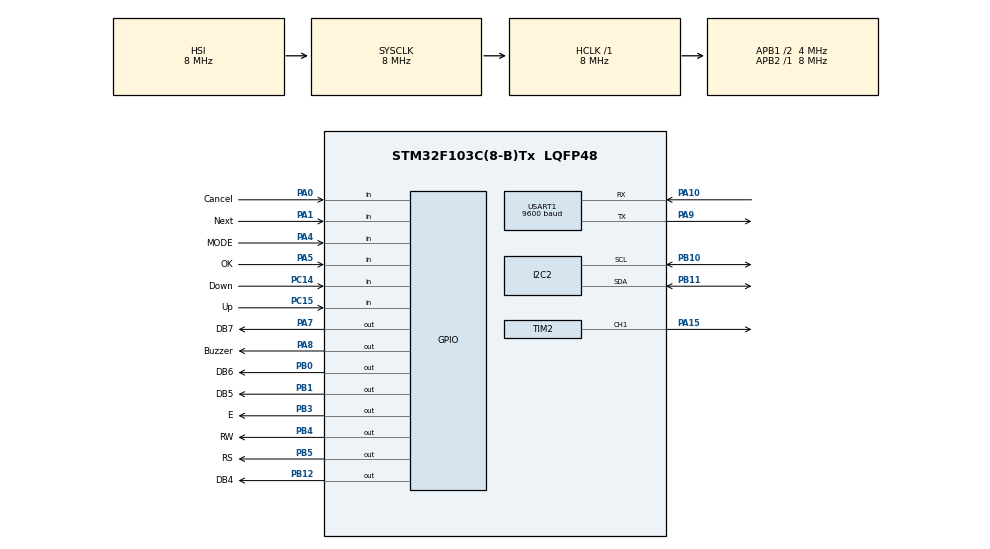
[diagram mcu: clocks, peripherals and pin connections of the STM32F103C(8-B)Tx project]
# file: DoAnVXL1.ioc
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Mcu.Family=STM32F1
Mcu.Name=STM32F103C(8-B)Tx
Mcu.Package=LQFP48
NVIC.PriorityGroup=NVIC_PRIORITYGROUP_4
NVIC.USART1_IRQn=true\:0\:0\:false\:false\:true\:true\:true
PA0-WKUP.GPIO_Label=Cancel
PA0-WKUP.GPIO_PuPd=GPIO_PULLUP
PA0-WKUP.Signal=GPIO_Input
PA1.GPIO_Label=Next
PA1.GPIO_PuPd=GPIO_PULLUP
PA1.Signal=GPIO_Input
PA10.Mode=Asynchronous
PA10.Signal=USART1_RX
PA13.Mode=Serial_Wire
PA13.Signal=SYS_JTMS-SWDIO
PA14.Mode=Serial_Wire
PA14.Signal=SYS_JTCK-SWCLK
PA15.Signal=S_TIM2_CH1_ETR
PA4.GPIO_Label=MODE
PA4.GPIO_PuPd=GPIO_PULLUP
PA4.Signal=GPIO_Input
PA5.GPIO_Label=OK
PA5.GPIO_PuPd=GPIO_PULLUP
PA5.Signal=GPIO_Input
PA7.GPIO_Label=DB7
PA7.Signal=GPIO_Output
PA8.GPIO_Label=Buzzer
PA8.Signal=GPIO_Output
PA9.Mode=Asynchronous
PA9.Signal=USART1_TX
PB0.GPIO_Label=DB6
PB0.Signal=GPIO_Output
PB1.GPIO_Label=DB5
PB1.Signal=GPIO_Output
PB10.Mode=I2C
PB10.Signal=I2C2_SCL
PB11.Mode=I2C
PB11.Signal=I2C2_SDA
PB12.GPIO_Label=DB4
PB12.Signal=GPIO_Output
PB3.GPIO_Label=E
PB3.Signal=GPIO_Output
PB4.GPIO_Label=RW
PB4.Signal=GPIO_Output
PB5.GPIO_Label=RS
PB5.Signal=GPIO_Output
PC14-OSC32_IN.GPIO_Label=Down
PC14-OSC32_IN.GPIO_PuPd=GPIO_PULLUP
PC14-OSC32_IN.Signal=GPIO_Input
PC15-OSC32_OUT.GPIO_Label=Up
PC15-OSC32_OUT.GPIO_PuPd=GPIO_PULLUP
PC15-OSC32_OUT.Signal=GPIO_Input
ProjectManager.HeapSize=0x200
ProjectManager.StackSize=0x400
ProjectManager.TargetToolchain=STM32CubeIDE
RCC.AHBFreq_Value=8000000
RCC.APB1CLKDivider=RCC_HCLK_DIV2
RCC.APB1Freq_Value=4000000
RCC.APB1TimFreq_Value=8000000
RCC.APB2Freq_Value=8000000
RCC.APB2TimFreq_Value=8000000
RCC.HCLKFreq_Value=8000000
RCC.SYSCLKFreq_VALUE=8000000
RCC.USBFreq_Value=8000000
SH.S_TIM2_CH1_ETR.0=TIM2_CH1,PWM Generation1 CH1
TIM2.Channel-PWM\ Generation1\ CH1=TIM_CHANNEL_1
TIM2.Period=100
TIM2.Prescaler=80
USART1.BaudRate=9600
USART1.VirtualMode=VM_ASYNC
VP_TIM2_VS_ClockSourceINT.Mode=Internal
board=custom

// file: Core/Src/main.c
/* USER CODE BEGIN Header */
/**
  ******************************************************************************
  * @file           : main.c
  * @brief          : Main program body
  ******************************************************************************
  * @attention
  *
  * <h2><center>&copy; Copyright (c) 2020 STMicroelectronics.
  * All rights reserved.</center></h2>
  *
  * This software component is licensed by ST under BSD 3-Clause license,
  * the "License"; You may not use this file except in compliance with the
  * License. You may obtain a copy of the License at:
  *                        opensource.org/licenses/BSD-3-Clause
  *
  ******************************************************************************
  */
/* USER CODE END Header */
#include "main.h"

/* USER CODE BEGIN Includes */
#include "stdio.h"
#include "string.h"
#include "User_DoAnVXL_BASE_LIB.h"
#include "Button_Interface_DoAnVxl.h"
#include "ds1307.h"

/* USER CODE END Includes */

I2C_HandleTypeDef hi2c2;

TIM_HandleTypeDef htim2;

UART_HandleTypeDef huart1;

/* USER CODE BEGIN PV */
User_DHT22_Data MyDHT;

uint8_t User_UART_RCV[16]={0};
uint8_t User_UART_RXIndex=0;
char User_UART_TempBufferData[1];// Array work properly, fail test on nomal var and pointer

//int User_Button_countUp = 0;
/* USER CODE END PV */

void SystemClock_Config(void);
static void MX_GPIO_Init(void);
static void MX_TIM2_Init(void);
static void MX_USART1_UART_Init(void);
static void MX_I2C2_Init(void);
/* USER CODE BEGIN PFP */
///*
void HAL_UART_RxCpltCallback(UART_HandleTypeDef *huart)
{

	if(huart->Instance == USART1)
	{

		User_UART_RCV[User_UART_RXIndex++]=User_UART_TempBufferData[0];
		if(User_UART_RXIndex==16 || User_UART_TempBufferData[0]=='~')
		{
			User_UART_RXIndex=0;
		}
		HAL_UART_Receive_IT(&huart1,(uint8_t *)User_UART_TempBufferData, 1);
	}
}
int User_Button_Up();
/* USER CODE END PFP */

int main(void)
{
  /* USER CODE BEGIN 1 */
//	uint8_t User_UART_Data[10]={0};
	//uint8_t countUp=0;
  /* USER CODE END 1 */

  /* MCU Configuration--------------------------------------------------------*/

  /* Reset of all peripherals, Initializes the Flash interface and the Systick. */
  HAL_Init();

  /* Configure the system clock */
  SystemClock_Config();

  /* Initialize all configured peripherals */
  MX_GPIO_Init();
  MX_TIM2_Init();
  MX_USART1_UART_Init();
  MX_I2C2_Init();
  /* USER CODE BEGIN 2 */
  __HAL_TIM_SET_COMPARE(&htim2,TIM_CHANNEL_1,30);

  HAL_TIM_PWM_Start(&htim2, TIM_CHANNEL_1);

  HAL_UART_Receive_IT(&huart1,(uint8_t*)User_UART_TempBufferData, 1);

//  HAL_UART_Receive_IT(&huart1,(uint8_t*)User_UART_RCV, 16);
  User_GLCD_Init();
  if(DS1307_Init(&User_DS1307_Handle)==DS1307_RES_OK)
  {
	  User_DS_Time.second=50;
	  User_DS_Time.minute=21;
	  User_DS_Time.hour=10;
	  User_DS_Time.day=2;
	  User_DS_Time.date=17;
	  User_DS_Time.month=8;
	  User_DS_Time.year=2020;
  }
  //DS1307_SetTime(&User_DS1307_Handle, User_DS_Time);

  /* USER CODE END 2 */

  /* Infinite loop */
  /* USER CODE BEGIN WHILE */
  while (1)
  {
	  //User_DS_Time= DS1307_GetTime(&User_DS1307_Handle);
	  User_Mode(&hi2c2, &MyDHT,User_UART_RCV);

	  /*
	  if(strcmp(User_UART_RCV,"MCUGetCmd")==0)
	  {
		  User_GLCD_ClearDisplay();
		  User_ClearArrayBuffer(User_GLCD_DataBuffer);
		  User_ClearArrayBuffer(User_UART_RCV);
		  while(1)
		  {
			  User_CombineFunc_UARTReceiveData_ShowOnGLCD(0,1,16,(char*)User_GLCD_DataBuffer, (char*)User_UART_RCV);
		  }
	  }
	  else
	  {
		  User_ClearArrayBuffer(User_UART_RCV);
		  	  Run_while();
	  }
	  */

    /* USER CODE END WHILE */

  }
}

void SystemClock_Config(void)
{
  RCC_OscInitTypeDef RCC_OscInitStruct = {0};
  RCC_ClkInitTypeDef RCC_ClkInitStruct = {0};

  /** Initializes the RCC Oscillators according to the specified parameters
  * in the RCC_OscInitTypeDef structure.
  */
  RCC_OscInitStruct.OscillatorType = RCC_OSCILLATORTYPE_HSI;
  RCC_OscInitStruct.HSIState = RCC_HSI_ON;
  RCC_OscInitStruct.HSICalibrationValue = RCC_HSICALIBRATION_DEFAULT;
  RCC_OscInitStruct.PLL.PLLState = RCC_PLL_NONE;
  if (HAL_RCC_OscConfig(&RCC_OscInitStruct) != HAL_OK)
  {
    Error_Handler();
  }
  /** Initializes the CPU, AHB and APB buses clocks
  */
  RCC_ClkInitStruct.ClockType = RCC_CLOCKTYPE_HCLK|RCC_CLOCKTYPE_SYSCLK
                              |RCC_CLOCKTYPE_PCLK1|RCC_CLOCKTYPE_PCLK2;
  RCC_ClkInitStruct.SYSCLKSource = RCC_SYSCLKSOURCE_HSI;
  RCC_ClkInitStruct.AHBCLKDivider = RCC_SYSCLK_DIV1;
  RCC_ClkInitStruct.APB1CLKDivider = RCC_HCLK_DIV2;
  RCC_ClkInitStruct.APB2CLKDivider = RCC_HCLK_DIV1;

  if (HAL_RCC_ClockConfig(&RCC_ClkInitStruct, FLASH_LATENCY_0) != HAL_OK)
  {
    Error_Handler();
  }
}

static void MX_I2C2_Init(void)
{

  /* USER CODE BEGIN I2C2_Init 0 */
	User_DS1307_Handle.i2c=&hi2c2;
	User_DS1307_Handle.DS1307_I2Cx=I2C2;
	User_DS1307_Handle.DS1307_ADDRESS=0xD0;
	User_DS1307_Handle.DS1307_CLOCK=100000;
	User_DS1307_Handle.TIMEOUT=HAL_MAX_DELAY;
  /* USER CODE END I2C2_Init 0 */

  hi2c2.Instance = I2C2;
  hi2c2.Init.ClockSpeed = 100000;
  hi2c2.Init.DutyCycle = I2C_DUTYCYCLE_2;
  hi2c2.Init.OwnAddress1 = 0;
  hi2c2.Init.AddressingMode = I2C_ADDRESSINGMODE_7BIT;
  hi2c2.Init.DualAddressMode = I2C_DUALADDRESS_DISABLE;
  hi2c2.Init.OwnAddress2 = 0;
  hi2c2.Init.GeneralCallMode = I2C_GENERALCALL_DISABLE;
  hi2c2.Init.NoStretchMode = I2C_NOSTRETCH_DISABLE;
  if (HAL_I2C_Init(&hi2c2) != HAL_OK)
  {
    Error_Handler();
  }

}

static void MX_TIM2_Init(void)
{

  TIM_ClockConfigTypeDef sClockSourceConfig = {0};
  TIM_MasterConfigTypeDef sMasterConfig = {0};
  TIM_OC_InitTypeDef sConfigOC = {0};

  htim2.Instance = TIM2;
  htim2.Init.Prescaler = 80;
  htim2.Init.CounterMode = TIM_COUNTERMODE_UP;
  htim2.Init.Period = 100;
  htim2.Init.ClockDivision = TIM_CLOCKDIVISION_DIV1;
  htim2.Init.AutoReloadPreload = TIM_AUTORELOAD_PRELOAD_DISABLE;
  if (HAL_TIM_Base_Init(&htim2) != HAL_OK)
  {
    Error_Handler();
  }
  sClockSourceConfig.ClockSource = TIM_CLOCKSOURCE_INTERNAL;
  if (HAL_TIM_ConfigClockSource(&htim2, &sClockSourceConfig) != HAL_OK)
  {
    Error_Handler();
  }
  if (HAL_TIM_PWM_Init(&htim2) != HAL_OK)
  {
    Error_Handler();
  }
  sMasterConfig.MasterOutputTrigger = TIM_TRGO_RESET;
  sMasterConfig.MasterSlaveMode = TIM_MASTERSLAVEMODE_DISABLE;
  if (HAL_TIMEx_MasterConfigSynchronization(&htim2, &sMasterConfig) != HAL_OK)
  {
    Error_Handler();
  }
  sConfigOC.OCMode = TIM_OCMODE_PWM1;
  sConfigOC.Pulse = 0;
  sConfigOC.OCPolarity = TIM_OCPOLARITY_HIGH;
  sConfigOC.OCFastMode = TIM_OCFAST_DISABLE;
  if (HAL_TIM_PWM_ConfigChannel(&htim2, &sConfigOC, TIM_CHANNEL_1) != HAL_OK)
  {
    Error_Handler();
  }
  HAL_TIM_MspPostInit(&htim2);

}

static void MX_USART1_UART_Init(void)
{

  huart1.Instance = USART1;
  huart1.Init.BaudRate = 9600;
  huart1.Init.WordLength = UART_WORDLENGTH_8B;
  huart1.Init.StopBits = UART_STOPBITS_1;
  huart1.Init.Parity = UART_PARITY_NONE;
  huart1.Init.Mode = UART_MODE_TX_RX;
  huart1.Init.HwFlowCtl = UART_HWCONTROL_NONE;
  huart1.Init.OverSampling = UART_OVERSAMPLING_16;
  if (HAL_UART_Init(&huart1) != HAL_OK)
  {
    Error_Handler();
  }

}

static void MX_GPIO_Init(void)
{
  GPIO_InitTypeDef GPIO_InitStruct = {0};

  /* GPIO Ports Clock Enable */
  __HAL_RCC_GPIOC_CLK_ENABLE();
  __HAL_RCC_GPIOA_CLK_ENABLE();
  __HAL_RCC_GPIOB_CLK_ENABLE();

  /*Configure GPIO pin Output Level */
  HAL_GPIO_WritePin(GPIOA, DB7_Pin|Buzzer_Pin, GPIO_PIN_RESET);

  /*Configure GPIO pin Output Level */
  HAL_GPIO_WritePin(GPIOB, DB6_Pin|DB5_Pin|DB4_Pin|E_Pin
                          |RW_Pin|RS_Pin, GPIO_PIN_RESET);

  /*Configure GPIO pins : Down_Pin Up_Pin */
  GPIO_InitStruct.Pin = Down_Pin|Up_Pin;
  GPIO_InitStruct.Mode = GPIO_MODE_INPUT;
  GPIO_InitStruct.Pull = GPIO_PULLUP;
  HAL_GPIO_Init(GPIOC, &GPIO_InitStruct);

  /*Configure GPIO pins : Cancel_Pin Next_Pin OK_Pin */
  GPIO_InitStruct.Pin = Cancel_Pin|Next_Pin|OK_Pin;
  GPIO_InitStruct.Mode = GPIO_MODE_INPUT;
  GPIO_InitStruct.Pull = GPIO_PULLUP;
  HAL_GPIO_Init(GPIOA, &GPIO_InitStruct);

  /*Configure GPIO pins : DB7_Pin Buzzer_Pin */
  GPIO_InitStruct.Pin = DB7_Pin|Buzzer_Pin;
  GPIO_InitStruct.Mode = GPIO_MODE_OUTPUT_PP;
  GPIO_InitStruct.Pull = GPIO_NOPULL;
  GPIO_InitStruct.Speed = GPIO_SPEED_FREQ_LOW;
  HAL_GPIO_Init(GPIOA, &GPIO_InitStruct);

  /*Configure GPIO pins : DB6_Pin DB5_Pin DB4_Pin E_Pin
                           RW_Pin RS_Pin */
  GPIO_InitStruct.Pin = DB6_Pin|DB5_Pin|DB4_Pin|E_Pin
                          |RW_Pin|RS_Pin;
  GPIO_InitStruct.Mode = GPIO_MODE_OUTPUT_PP;
  GPIO_InitStruct.Pull = GPIO_NOPULL;
  GPIO_InitStruct.Speed = GPIO_SPEED_FREQ_LOW;
  HAL_GPIO_Init(GPIOB, &GPIO_InitStruct);

  /*Configure GPIO pin : MODE_Pin */
  GPIO_InitStruct.Pin = MODE_Pin;
  GPIO_InitStruct.Mode = GPIO_MODE_INPUT;
  GPIO_InitStruct.Pull = GPIO_PULLUP;
  HAL_GPIO_Init(MODE_GPIO_Port, &GPIO_InitStruct);

}

/* USER CODE BEGIN 4 */
void Run_while()
{

	/*
	int mode = 0;
	if (mode == 0) User_Show_Default();
	if (mode == 1) User_Show_Time_Mode();
	if (mode == 2) User_Show_Temp_Humid_Mode();
	if (mode == 3) User_Set_Time_Mode();
	if (mode == 4) User_Set_Allarm_Mode();
	User_MODE_MODE();
	*/
	/*
	void User_Mode()
	{
		int mode = 0;
		if (mode == 0) User_Show_Default();
		if (mode == 1) User_Show_Time_Mode();
		if (mode == 2) User_Show_Temp_Humid_Mode();
		if (mode == 3) User_Set_Time_Mode();
		if (mode == 4) User_Set_Allarm_Mode();

		User_MODE_MODE();
	}
*/

}

/* USER CODE END 4 */

void Error_Handler(void)
{
}

/************************ (C) COPYRIGHT STMicroelectronics *****END OF FILE****/
